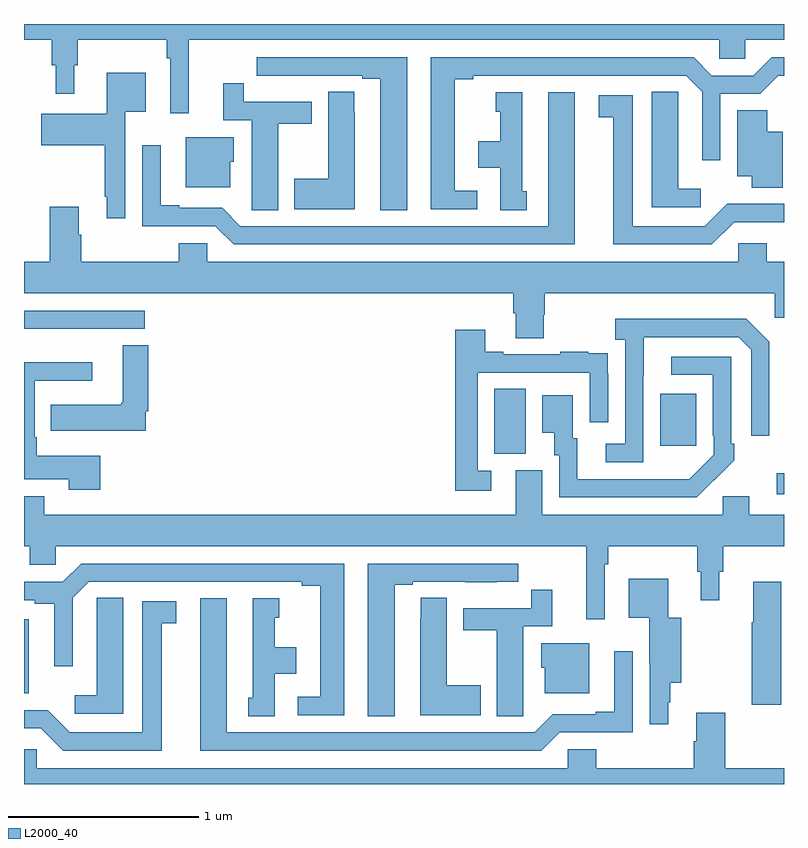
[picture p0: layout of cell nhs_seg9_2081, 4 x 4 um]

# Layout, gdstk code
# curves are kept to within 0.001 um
import gdstk
lib = gdstk.Library(unit=1e-6, precision=1e-09)
def R(c, l, rs):  # rectangles x0, y0, x1, y1
    for r in rs: c.add(gdstk.rectangle(r[:2], r[2:], *l))
def P(c, l, *ps):  # polygons
    for p in ps: c.add(gdstk.Polygon(p, *l))
L2000_40 = (2000, 40)

nhs_seg9_2081 = lib.new_cell('nhs_seg9_2081')
R(nhs_seg9_2081, L2000_40, [(229,1196.978,229.024,1197.366), (232.962,1198.026,233,1198.135), (231.476,1198.237,231.64,1198.58), (232.349,1198.281,232.537,1198.555)])
P(nhs_seg9_2081, L2000_40, [(229.868,1200.416),(232.659,1200.416),(232.659,1200.318),(232.797,1200.318),(232.797,1200.416),(233,1200.416),(233,1200.5),(229,1200.5),(229,1200.416),(229.147,1200.416),(229.147,1200.282),(229.166,1200.282),(229.166,1200.132),(229.264,1200.132),(229.264,1200.282),(229.283,1200.282),(229.283,1200.416),(229.75,1200.416),(229.75,1200.32),(229.77,1200.32),(229.77,1200.03),(229.868,1200.03)],
  [(231.016,1200.324),(230.226,1200.324),(230.226,1200.228),(230.338,1200.228),(230.338,1200.227),(230.504,1200.227),(230.504,1200.228),(230.78,1200.228),(230.78,1200.213),(230.876,1200.213),(230.876,1199.521),(231.016,1199.521)],
  [(231.385,1199.622),(231.268,1199.622),(231.268,1200.208),(231.364,1200.208),(231.364,1200.228),(232.485,1200.228),(232.569,1200.144),(232.569,1199.784),(232.665,1199.784),(232.665,1200.132),(232.875,1200.132),(232.971,1200.228),(233,1200.228),(233,1200.324),(232.935,1200.324),(232.839,1200.228),(232.621,1200.228),(232.525,1200.324),(231.14,1200.324),(231.14,1199.526),(231.385,1199.526)],
  [(229.533,1200.038),(229.642,1200.038),(229.642,1200.244),(229.436,1200.244),(229.436,1200.028),(229.092,1200.028),(229.092,1199.863),(229.425,1199.863),(229.425,1199.59),(229.436,1199.59),(229.436,1199.478),(229.533,1199.478)],
  [(230.338,1199.974),(230.515,1199.974),(230.515,1200.09),(230.156,1200.09),(230.156,1200.187),(230.048,1200.187),(230.048,1199.994),(230.198,1199.994),(230.198,1199.632),(230.199,1199.632),(230.199,1199.521),(230.338,1199.521)],
  [(230.74,1200.035),(230.739,1200.035),(230.739,1200.143),(230.6,1200.143),(230.6,1199.685),(230.423,1199.685),(230.423,1199.525),(230.74,1199.525)],
  [(232.561,1199.632),(232.444,1199.632),(232.444,1200.035),(232.443,1200.035),(232.443,1200.143),(232.304,1200.143),(232.304,1199.535),(232.561,1199.535)],
  [(231.646,1199.619),(231.622,1199.619),(231.622,1200.142),(231.482,1200.142),(231.482,1200.039),(231.506,1200.039),(231.506,1199.884),(231.392,1199.884),(231.392,1199.744),(231.506,1199.744),(231.506,1199.521),(231.646,1199.521)],
  [(231.898,1200.142),(231.758,1200.142),(231.758,1199.436),(230.139,1199.436),(230.043,1199.532),(229.816,1199.532),(229.816,1199.545),(229.72,1199.545),(229.72,1199.863),(229.623,1199.863),(229.623,1199.436),(230.007,1199.436),(230.103,1199.34),(231.898,1199.34)],
  [(232.737,1199.457),(233,1199.456),(233,1199.553),(232.702,1199.554),(232.584,1199.436),(232.204,1199.436),(232.204,1200.126),(232.026,1200.126),(232.026,1200.01),(232.1,1200.01),(232.1,1199.34),(232.62,1199.34)],
  [(232.993,1199.932),(232.912,1199.932),(232.912,1200.047),(232.754,1200.047),(232.754,1199.699),(232.829,1199.699),(232.829,1199.638),(232.993,1199.638)],
  [(230.086,1199.775),(230.104,1199.775),(230.104,1199.905),(229.85,1199.905),(229.85,1199.642),(230.086,1199.642)],
  [(231.735,1198.971),(231.74,1198.971),(231.74,1199.084),(232.95,1199.084),(232.95,1198.953),(233,1198.953),(233,1199.248),(232.91,1199.248),(232.91,1199.346),(232.758,1199.346),(232.758,1199.248),(229.965,1199.248),(229.965,1199.346),(229.814,1199.346),(229.814,1199.248),(229.301,1199.248),(229.301,1199.39),(229.288,1199.39),(229.288,1199.539),(229.136,1199.539),(229.136,1199.248),(229,1199.248),(229,1199.084),(231.575,1199.084),(231.575,1198.978),(231.587,1198.978),(231.587,1198.846),(231.735,1198.846)],
  [(229.423,1198.896),(229.636,1198.896),(229.636,1198.992),(229,1198.992),(229,1198.895),(229.423,1198.895)],
  [(232.26,1198.651),(232.261,1198.851),(232.761,1198.851),(232.827,1198.785),(232.827,1198.332),(232.923,1198.332),(232.923,1198.827),(232.802,1198.948),(232.113,1198.948),(232.113,1198.838),(232.164,1198.838),(232.164,1198.29),(232.062,1198.29),(232.062,1198.194),(232.26,1198.194)],
  [(231.46,1198.149),(231.387,1198.149),(231.387,1198.665),(231.978,1198.665),(231.978,1198.404),(232.074,1198.404),(232.074,1198.658),(232.073,1198.658),(232.073,1198.767),(231.971,1198.767),(231.971,1198.774),(231.823,1198.774),(231.823,1198.761),(231.523,1198.761),(231.523,1198.774),(231.427,1198.774),(231.427,1198.891),(231.271,1198.891),(231.271,1198.044),(231.46,1198.044)],
  [(229.642,1198.462),(229.655,1198.462),(229.655,1198.81),(229.52,1198.81),(229.52,1198.506),(229.513,1198.506),(229.513,1198.497),(229.141,1198.497),(229.141,1198.359),(229.249,1198.359),(229.249,1198.358),(229.642,1198.358)],
  [(232.631,1198.099),(232.632,1198.098),(232.737,1198.203),(232.737,1198.291),(232.722,1198.291),(232.722,1198.749),(232.407,1198.749),(232.407,1198.653),(232.626,1198.653),(232.626,1198.333),(232.629,1198.333),(232.629,1198.233),(232.501,1198.105),(231.913,1198.104),(231.913,1198.32),(231.889,1198.32),(231.889,1198.546),(231.728,1198.546),(231.728,1198.349),(231.791,1198.349),(231.791,1198.23),(231.816,1198.23),(231.816,1198.008),(232.54,1198.008)],
  [(229.4,1198.228),(229.068,1198.228),(229.068,1198.324),(229.056,1198.324),(229.056,1198.623),(229.36,1198.623),(229.36,1198.72),(229,1198.72),(229,1198.103),(229.235,1198.103),(229.235,1198.05),(229.4,1198.05)],
  [(232.056,1197.656),(232.076,1197.656),(232.076,1197.752),(232.543,1197.752),(232.543,1197.618),(232.562,1197.618),(232.562,1197.468),(232.66,1197.468),(232.66,1197.618),(232.679,1197.618),(232.679,1197.752),(233,1197.752),(233,1197.916),(232.816,1197.916),(232.816,1198.014),(232.677,1198.014),(232.677,1197.916),(231.727,1197.916),(231.727,1198.152),(231.587,1198.152),(231.587,1197.916),(229.106,1197.916),(229.106,1198.015),(229,1198.015),(229,1197.752),(229.029,1197.752),(229.029,1197.654),(229.167,1197.654),(229.167,1197.752),(231.959,1197.752),(231.959,1197.366),(232.056,1197.366)],
  [(230.686,1197.66),(229.301,1197.66),(229.205,1197.564),(229,1197.564),(229,1197.468),(229.056,1197.468),(229.056,1197.448),(229.16,1197.448),(229.16,1197.12),(229.257,1197.12),(229.257,1197.48),(229.341,1197.564),(230.462,1197.564),(230.462,1197.544),(230.558,1197.544),(230.558,1196.958),(230.442,1196.958),(230.442,1196.862),(230.686,1196.862)],
  [(230.95,1197.549),(231.046,1197.549),(231.046,1197.564),(231.322,1197.564),(231.322,1197.563),(231.488,1197.563),(231.488,1197.564),(231.601,1197.564),(231.601,1197.66),(230.81,1197.66),(230.81,1196.857),(230.95,1196.857)],
  [(232.39,1196.931),(232.402,1196.931),(232.402,1197.032),(232.458,1197.032),(232.458,1197.376),(232.39,1197.376),(232.39,1197.58),(232.184,1197.58),(232.184,1197.374),(232.292,1197.374),(232.292,1197.136),(232.293,1197.136),(232.293,1196.814),(232.39,1196.814)],
  [(232.985,1197.565),(232.838,1197.565),(232.838,1197.352),(232.831,1197.352),(232.831,1196.916),(232.985,1196.916)],
  [(231.627,1196.968),(231.628,1196.968),(231.628,1197.33),(231.779,1197.33),(231.779,1197.523),(231.67,1197.523),(231.67,1197.426),(231.311,1197.426),(231.311,1197.31),(231.488,1197.31),(231.488,1196.857),(231.627,1196.857)],
  [(229.522,1197.479),(229.383,1197.479),(229.383,1197.371),(229.382,1197.371),(229.382,1196.968),(229.266,1196.968),(229.266,1196.871),(229.522,1196.871)],
  [(231.403,1197.021),(231.226,1197.021),(231.226,1197.479),(231.087,1197.479),(231.087,1197.371),(231.086,1197.371),(231.086,1196.861),(231.403,1196.861)],
  [(230.32,1197.08),(230.434,1197.08),(230.434,1197.22),(230.32,1197.22),(230.32,1197.375),(230.344,1197.375),(230.344,1197.478),(230.204,1197.478),(230.204,1196.955),(230.18,1196.955),(230.18,1196.857),(230.32,1196.857)],
  [(231.819,1196.772),(232.203,1196.772),(232.203,1197.199),(232.106,1197.199),(232.106,1196.881),(232.01,1196.881),(232.01,1196.868),(231.783,1196.868),(231.687,1196.772),(230.068,1196.772),(230.068,1197.478),(229.928,1197.478),(229.928,1196.676),(231.723,1196.676)],
  [(229.726,1197.346),(229.801,1197.346),(229.801,1197.462),(229.622,1197.462),(229.622,1196.772),(229.242,1196.772),(229.125,1196.889),(229,1196.889),(229,1196.793),(229.089,1196.793),(229.206,1196.676),(229.726,1196.676)],
  [(231.976,1197.241),(231.722,1197.241),(231.722,1197.111),(231.74,1197.111),(231.74,1196.978),(231.976,1196.978)],
  [(233,1196.584),(232.691,1196.584),(232.691,1196.875),(232.538,1196.875),(232.538,1196.726),(232.526,1196.726),(232.526,1196.584),(232.013,1196.584),(232.013,1196.682),(231.861,1196.682),(231.861,1196.584),(229.068,1196.584),(229.068,1196.682),(229,1196.682),(229,1196.5),(233,1196.5)])

lib.write_gds('nhs_seg9_2081.gds')
